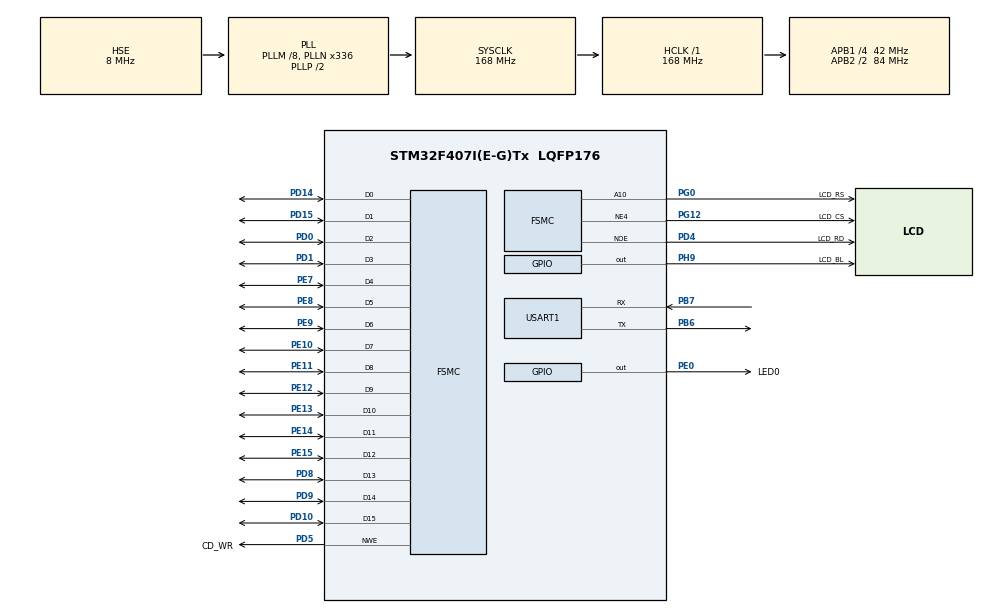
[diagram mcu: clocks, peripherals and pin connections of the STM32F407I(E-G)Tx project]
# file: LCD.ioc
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FSMC.AddressSetupTime1=0xf
FSMC.BusTurnAroundDuration1=15
FSMC.DataSetupTime1=60
FSMC.ExtendedAddressSetupTime1=9
FSMC.ExtendedBusTurnAroundDuration1=15
FSMC.ExtendedDataSetupTime1=9
FSMC.ExtendedMode1=FSMC_EXTENDED_MODE_ENABLE
Mcu.Family=STM32F4
Mcu.Name=STM32F407I(E-G)Tx
Mcu.Package=LQFP176
NVIC.PriorityGroup=NVIC_PRIORITYGROUP_4
PA13.Mode=Serial_Wire
PA13.Signal=SYS_JTMS-SWDIO
PA14.Mode=Serial_Wire
PA14.Signal=SYS_JTCK-SWCLK
PB6.Mode=Asynchronous
PB6.Signal=USART1_TX
PB7.Mode=Asynchronous
PB7.Signal=USART1_RX
PD0.Signal=FSMC_D2_DA2
PD1.Signal=FSMC_D3_DA3
PD10.Signal=FSMC_D15_DA15
PD14.Signal=FSMC_D0_DA0
PD15.Signal=FSMC_D1_DA1
PD4.GPIO_Label=LCD_RD
PD4.GPIO_PuPd=GPIO_PULLUP
PD4.Signal=FSMC_NOE
PD5.GPIO_Label=CD_WR
PD5.GPIO_PuPd=GPIO_PULLUP
PD5.Signal=FSMC_NWE
PD8.Signal=FSMC_D13_DA13
PD9.Signal=FSMC_D14_DA14
PE0.GPIO_Label=LED0
PE0.GPIO_Speed=GPIO_SPEED_FREQ_HIGH
PE0.PinState=GPIO_PIN_SET
PE0.Signal=GPIO_Output
PE10.Signal=FSMC_D7_DA7
PE11.Signal=FSMC_D8_DA8
PE12.Signal=FSMC_D9_DA9
PE13.Signal=FSMC_D10_DA10
PE14.Signal=FSMC_D11_DA11
PE15.Signal=FSMC_D12_DA12
PE7.Signal=FSMC_D4_DA4
PE8.GPIO_PuPd=GPIO_NOPULL
PE8.Signal=FSMC_D5_DA5
PE9.Signal=FSMC_D6_DA6
PG0.GPIO_Label=LCD_RS
PG0.GPIO_PuPd=GPIO_PULLUP
PG0.Signal=FSMC_A10
PG12.GPIO_Label=LCD_CS
PG12.GPIO_PuPd=GPIO_PULLUP
PG12.Mode=NorPsramChipSelect4_1
PG12.Signal=FSMC_NE4
PH0-OSC_IN.Mode=HSE-External-Oscillator
PH0-OSC_IN.Signal=RCC_OSC_IN
PH1-OSC_OUT.Mode=HSE-External-Oscillator
PH1-OSC_OUT.Signal=RCC_OSC_OUT
PH9.GPIO_Label=LCD_BL
PH9.GPIO_PuPd=GPIO_PULLUP
PH9.GPIO_Speed=GPIO_SPEED_FREQ_HIGH
PH9.PinState=GPIO_PIN_SET
PH9.Signal=GPIO_Output
ProjectManager.HeapSize=0x200
ProjectManager.StackSize=0x400
ProjectManager.TargetToolchain=MDK-ARM V5
RCC.48MHZClocksFreq_Value=84000000
RCC.AHBFreq_Value=168000000
RCC.APB1CLKDivider=RCC_HCLK_DIV4
RCC.APB1Freq_Value=42000000
RCC.APB1TimFreq_Value=84000000
RCC.APB2CLKDivider=RCC_HCLK_DIV2
RCC.APB2Freq_Value=84000000
RCC.APB2TimFreq_Value=168000000
RCC.CortexFreq_Value=168000000
RCC.HCLKFreq_Value=168000000
RCC.HSE_VALUE=8000000
RCC.HSI_VALUE=16000000
RCC.LSE_VALUE=32768
RCC.PLLM=8
RCC.PLLN=336
RCC.PLLSourceVirtual=RCC_PLLSOURCE_HSE
RCC.SYSCLKFreq_VALUE=168000000
RCC.SYSCLKSource=RCC_SYSCLKSOURCE_PLLCLK
RCC.VCOOutputFreq_Value=336000000
SH.FSMC_A10.0=FSMC_A10,A10_1
SH.FSMC_D0_DA0.0=FSMC_D0,16b-d1
SH.FSMC_D10_DA10.0=FSMC_D10,16b-d1
SH.FSMC_D11_DA11.0=FSMC_D11,16b-d1
SH.FSMC_D12_DA12.0=FSMC_D12,16b-d1
SH.FSMC_D13_DA13.0=FSMC_D13,16b-d1
SH.FSMC_D14_DA14.0=FSMC_D14,16b-d1
SH.FSMC_D15_DA15.0=FSMC_D15,16b-d1
SH.FSMC_D1_DA1.0=FSMC_D1,16b-d1
SH.FSMC_D2_DA2.0=FSMC_D2,16b-d1
SH.FSMC_D3_DA3.0=FSMC_D3,16b-d1
SH.FSMC_D4_DA4.0=FSMC_D4,16b-d1
SH.FSMC_D5_DA5.0=FSMC_D5,16b-d1
SH.FSMC_D6_DA6.0=FSMC_D6,16b-d1
SH.FSMC_D7_DA7.0=FSMC_D7,16b-d1
SH.FSMC_D8_DA8.0=FSMC_D8,16b-d1
SH.FSMC_D9_DA9.0=FSMC_D9,16b-d1
SH.FSMC_NOE.0=FSMC_NOE,Lcd1
SH.FSMC_NWE.0=FSMC_NWE,Lcd1
USART1.VirtualMode=VM_ASYNC
board=LCD

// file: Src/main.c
/**
  ******************************************************************************
  * @file           : main.c
  * @brief          : Main program body
  ******************************************************************************
  ** This notice applies to any and all portions of this file
  * that are not between comment pairs USER CODE BEGIN and
  * USER CODE END. Other portions of this file, whether
  * inserted by the user or by software development tools
  * are owned by their respective copyright owners.
  *
  * COPYRIGHT(c) 2024 STMicroelectronics
  *
  * Redistribution and use in source and binary forms, with or without modification,
  * are permitted provided that the following conditions are met:
  *   1. Redistributions of source code must retain the above copyright notice,
  *      this list of conditions and the following disclaimer.
  *   2. Redistributions in binary form must reproduce the above copyright notice,
  *      this list of conditions and the following disclaimer in the documentation
  *      and/or other materials provided with the distribution.
  *   3. Neither the name of STMicroelectronics nor the names of its contributors
  *      may be used to endorse or promote products derived from this software
  *      without specific prior written permission.
  *
  * THIS SOFTWARE IS PROVIDED BY THE COPYRIGHT HOLDERS AND CONTRIBUTORS "AS IS"
  * AND ANY EXPRESS OR IMPLIED WARRANTIES, INCLUDING, BUT NOT LIMITED TO, THE
  * IMPLIED WARRANTIES OF MERCHANTABILITY AND FITNESS FOR A PARTICULAR PURPOSE ARE
  * DISCLAIMED. IN NO EVENT SHALL THE COPYRIGHT HOLDER OR CONTRIBUTORS BE LIABLE
  * FOR ANY DIRECT, INDIRECT, INCIDENTAL, SPECIAL, EXEMPLARY, OR CONSEQUENTIAL
  * DAMAGES (INCLUDING, BUT NOT LIMITED TO, PROCUREMENT OF SUBSTITUTE GOODS OR
  * SERVICES; LOSS OF USE, DATA, OR PROFITS; OR BUSINESS INTERRUPTION) HOWEVER
  * CAUSED AND ON ANY THEORY OF LIABILITY, WHETHER IN CONTRACT, STRICT LIABILITY,
  * OR TORT (INCLUDING NEGLIGENCE OR OTHERWISE) ARISING IN ANY WAY OUT OF THE USE
  * OF THIS SOFTWARE, EVEN IF ADVISED OF THE POSSIBILITY OF SUCH DAMAGE.
  *
  ******************************************************************************
  */
#include "main.h"
#include "stm32f4xx_hal.h"
#include "usart.h"
#include "gpio.h"
#include "fsmc.h"

/* USER CODE BEGIN Includes */
#include "lcd.h"
/* USER CODE END Includes */

/* USER CODE BEGIN PV */
/* Private variables ---------------------------------------------------------*/
uint8_t lcd_id[12];
uint16_t colors[12] = {WHITE, BLACK, BLUE, RED, MAGENTA, GREEN, CYAN, YELLOW, BRRED, GRAY, LGRAY, BROWN};
uint8_t color_index = 0;
/* USER CODE END PV */

void SystemClock_Config(void);

/* USER CODE BEGIN PFP */
/* Private function prototypes -----------------------------------------------*/

/* USER CODE END PFP */

int main(void)
{

  /* MCU Configuration----------------------------------------------------------*/

  /* Reset of all peripherals, Initializes the Flash interface and the Systick. */
  HAL_Init();

  /* Configure the system clock */
  SystemClock_Config();

  /* Initialize all configured peripherals */
  MX_GPIO_Init();
  MX_FSMC_Init();
  MX_USART1_UART_Init();
  /* USER CODE BEGIN 2 */
	printf("start lcd_init\n");
	lcd_init();                             /* 初始化LCD */
  g_point_color = RED;
  sprintf((char *)lcd_id, "LCD ID:%04X", lcddev.id);  /* 将LCD ID打印到lcd_id数组 */
	printf("lcd_init down\n");
  /* USER CODE END 2 */

  /* Infinite loop */
  /* USER CODE BEGIN WHILE */
  while (1)
  {
		lcd_clear(colors[color_index]);  //清屏

		lcd_show_string(10, 40, 240, 32, 32, "STM32", RED);
		lcd_show_string(10, 80, 240, 24, 24, "TFTLCD TEST", RED);
		lcd_show_string(10, 110, 240, 16, 16, "ATOM@ALIENTEK", RED);
		lcd_show_string(10, 130, 240, 16, 16, (char *)lcd_id, RED); /* 显示LCD ID */
		color_index++;

		if (color_index == 12){
				color_index = 0;
		}
		HAL_GPIO_TogglePin(LED0_GPIO_Port, LED0_Pin); /* LED0闪烁 */
		HAL_Delay(1000);

  /* USER CODE END WHILE */

  }

}

void SystemClock_Config(void)
{

  RCC_OscInitTypeDef RCC_OscInitStruct;
  RCC_ClkInitTypeDef RCC_ClkInitStruct;

    /**Configure the main internal regulator output voltage
    */
  __HAL_RCC_PWR_CLK_ENABLE();

  __HAL_PWR_VOLTAGESCALING_CONFIG(PWR_REGULATOR_VOLTAGE_SCALE1);

    /**Initializes the CPU, AHB and APB busses clocks
    */
  RCC_OscInitStruct.OscillatorType = RCC_OSCILLATORTYPE_HSE;
  RCC_OscInitStruct.HSEState = RCC_HSE_ON;
  RCC_OscInitStruct.PLL.PLLState = RCC_PLL_ON;
  RCC_OscInitStruct.PLL.PLLSource = RCC_PLLSOURCE_HSE;
  RCC_OscInitStruct.PLL.PLLM = 8;
  RCC_OscInitStruct.PLL.PLLN = 336;
  RCC_OscInitStruct.PLL.PLLP = RCC_PLLP_DIV2;
  RCC_OscInitStruct.PLL.PLLQ = 4;
  if (HAL_RCC_OscConfig(&RCC_OscInitStruct) != HAL_OK)
  {
    _Error_Handler(__FILE__, __LINE__);
  }

    /**Initializes the CPU, AHB and APB busses clocks
    */
  RCC_ClkInitStruct.ClockType = RCC_CLOCKTYPE_HCLK|RCC_CLOCKTYPE_SYSCLK
                              |RCC_CLOCKTYPE_PCLK1|RCC_CLOCKTYPE_PCLK2;
  RCC_ClkInitStruct.SYSCLKSource = RCC_SYSCLKSOURCE_PLLCLK;
  RCC_ClkInitStruct.AHBCLKDivider = RCC_SYSCLK_DIV1;
  RCC_ClkInitStruct.APB1CLKDivider = RCC_HCLK_DIV4;
  RCC_ClkInitStruct.APB2CLKDivider = RCC_HCLK_DIV2;

  if (HAL_RCC_ClockConfig(&RCC_ClkInitStruct, FLASH_LATENCY_5) != HAL_OK)
  {
    _Error_Handler(__FILE__, __LINE__);
  }

    /**Configure the Systick interrupt time
    */
  HAL_SYSTICK_Config(HAL_RCC_GetHCLKFreq()/1000);

    /**Configure the Systick
    */
  HAL_SYSTICK_CLKSourceConfig(SYSTICK_CLKSOURCE_HCLK);

  /* SysTick_IRQn interrupt configuration */
  HAL_NVIC_SetPriority(SysTick_IRQn, 0, 0);
}

void _Error_Handler(char *file, int line)
{
  while(1)
  {
  }
}

/************************ (C) COPYRIGHT STMicroelectronics *****END OF FILE****/
